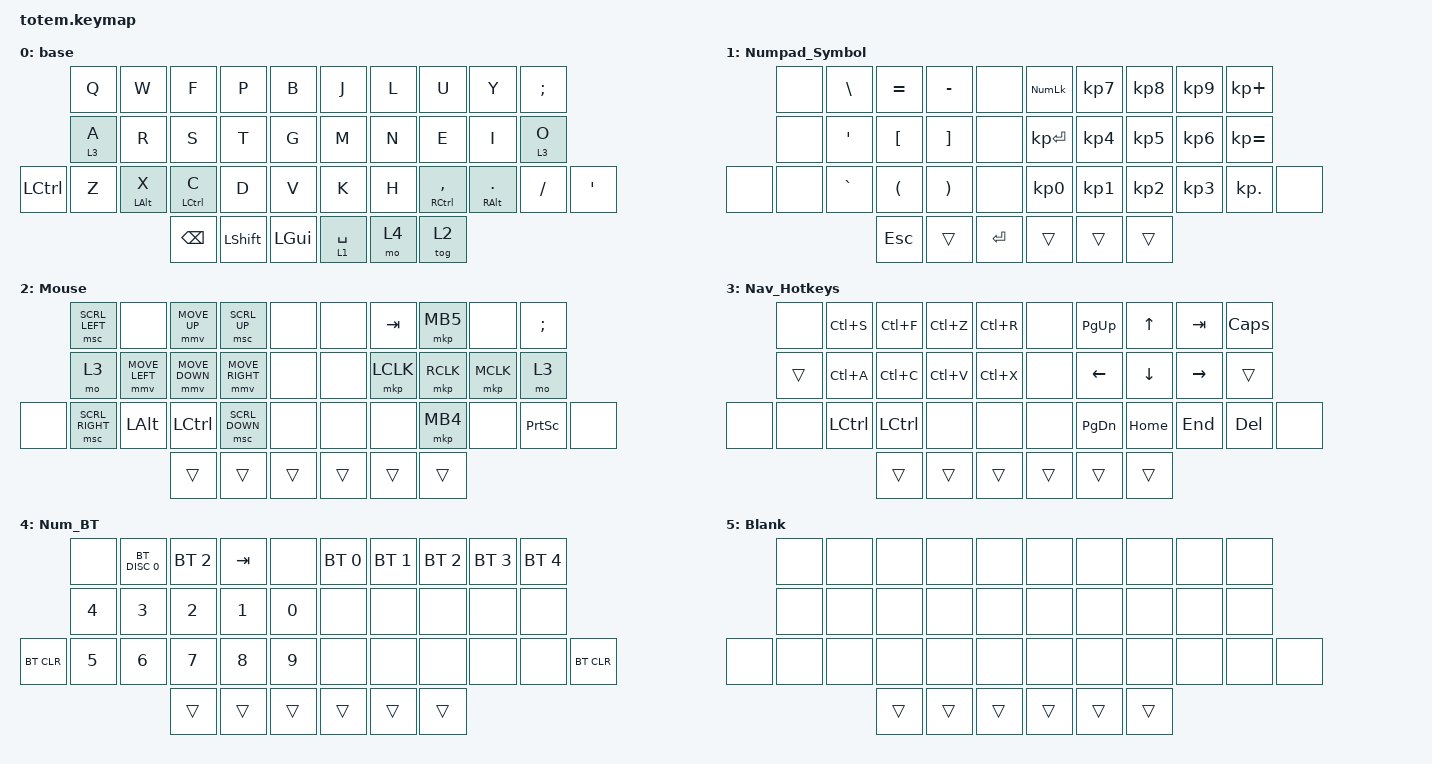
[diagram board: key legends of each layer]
//
//                                                        ▀▀▀▀▀     ▀▀▀▀▀          ▀▀█▀▀
//                                                        ▄▀▀▀▄  ▄  ▄▀▀▀▄  ▄  ▄▀▀▀▄  █  ▄▀▀▀▄
//                                                        █   █  █  █   █  █  █   █  █  █   █
//                                                         ▀▀▀   █   ▀▀▀   █   ▀▀▀   ▀   ▀▀▀
//                                                               █      ▄▄▄█▄▄▄    █   █  
//                                                               ▀      █  █  █     █▄█
//                                                             ▀▀▀▀▀    █  █  █      ▀
//                                                                      ▀  ▀  ▀
//
// ▄▄▄▄▄▄▄▄▄▄▄▄▄▄▄▄▄▄▄▄▄▄▄▄▄▄▄▄▄▄▄▄▄▄▄▄▄▄▄▄▄▄▄▄▄▄▄▄▄▄▄▄▄▄▄▄▄▄▄▄▄▄▄▄▄▄▄▄▄▄▄▄▄▄▄▄▄▄▄▄▄▄▄▄▄▄▄▄▄▄▄▄▄▄▄▄▄▄▄▄▄▄▄▄▄▄▄▄▄▄▄▄▄▄▄▄▄▄▄▄▄▄▄▄▄▄▄▄▄▄▄▄▄▄▄▄▄▄▄▄▄▄▄▄▄▄▄▄▄

#include <behaviors.dtsi>
#include <dt-bindings/zmk/bt.h>
#include <dt-bindings/zmk/keys.h>
#include <dt-bindings/zmk/pointing.h>

/ {
    keymap {
        compatible = "zmk,keymap";

        base {
            bindings = <
           &kp Q    &kp W           &kp F          &kp P           &kp B           &kp J        &kp L  &kp U            &kp Y                 &kp SEMICOLON
           &lt 3 A  &kp R           &kp S          &kp T           &kp G           &kp M        &kp N  &kp E            &kp I                 &lt 3 O
&kp LCTRL  &kp Z    &mt LEFT_ALT X  &mt LCTRL C    &kp D           &kp V           &kp K        &kp H  &mt RCTRL COMMA  &mt RIGHT_ALT PERIOD  &kp FSLH       &kp APOS
                                    &kp BACKSPACE  &kp LEFT_SHIFT  &kp LEFT_GUI    &lt 1 SPACE  &mo 4  &tog 2
            >;
        };

        Numpad_Symbol {
            bindings = <
       &none  &kp BSLH   &kp EQUAL             &kp MINUS              &none        &kp KP_NUMLOCK   &kp KP_NUMBER_7  &kp KP_NUMBER_8  &kp KP_NUMBER_9  &kp KP_PLUS
       &none  &kp APOS   &kp LBKT              &kp RBKT               &none        &kp KP_ENTER     &kp KP_NUMBER_4  &kp KP_NUMBER_5  &kp KP_NUMBER_6  &kp KP_EQUAL
&none  &none  &kp GRAVE  &kp LEFT_PARENTHESIS  &kp RIGHT_PARENTHESIS  &none        &kp KP_NUMBER_0  &kp KP_NUMBER_1  &kp KP_NUMBER_2  &kp KP_NUMBER_3  &kp KP_DOT    &none
                         &kp ESCAPE            &trans                 &kp ENTER    &trans           &trans           &trans
            >;
        };

        Mouse {
            bindings = <
       &msc SCRL_LEFT   &none           &mmv MOVE_UP      &msc SCRL_UP     &none     &none   &kp TAB    &mkp MB5   &none      &kp SEMICOLON
       &mo 3            &mmv MOVE_LEFT  &mmv MOVE_DOWN    &mmv MOVE_RIGHT  &none     &none   &mkp LCLK  &mkp RCLK  &mkp MCLK  &mo 3
&none  &msc SCRL_RIGHT  &kp LEFT_ALT    &kp LEFT_CONTROL  &msc SCRL_DOWN   &none     &none   &none      &mkp MB4   &none      &kp PRINTSCREEN  &none
                                        &trans            &trans           &trans    &trans  &trans     &trans
            >;
        };

        Nav_Hotkeys {
            bindings = <
       &none   &kp LC(S)  &kp LC(F)  &kp LC(Z)  &kp LC(R)    &none   &kp PAGE_UP     &kp UP_ARROW  &kp TAB    &kp CAPSLOCK
       &trans  &kp LC(A)  &kp LC(C)  &kp LC(V)  &kp LC(X)    &none   &kp LEFT_ARROW  &kp DOWN      &kp RIGHT  &trans
&none  &none   &kp LCTRL  &kp LCTRL  &none      &none        &none   &kp PAGE_DOWN   &kp HOME      &kp END    &kp DELETE    &none
                          &trans     &trans     &trans       &trans  &trans          &trans
            >;
        };

        Num_BT {
            bindings = <
            &none         &bt BT_DISC 0  &bt BT_SEL 2  &kp TAB       &none           &bt BT_SEL 0  &bt BT_SEL 1  &bt BT_SEL 2  &bt BT_SEL 3  &bt BT_SEL 4
            &kp NUMBER_4  &kp NUMBER_3   &kp NUMBER_2  &kp NUMBER_1  &kp NUMBER_0    &none         &none         &none         &none         &none
&bt BT_CLR  &kp NUMBER_5  &kp NUMBER_6   &kp NUMBER_7  &kp NUMBER_8  &kp NUMBER_9    &none         &none         &none         &none         &none         &bt BT_CLR
                                         &trans        &trans        &trans          &trans        &trans        &trans
            >;
        };

        Blank {
            bindings = <
       &none  &none  &none   &none   &none     &none   &none   &none   &none  &none
       &none  &none  &none   &none   &none     &none   &none   &none   &none  &none
&none  &none  &none  &none   &none   &none     &none   &none   &none   &none  &none  &none
                     &trans  &trans  &trans    &trans  &trans  &trans
            >;
        };
    };
};
